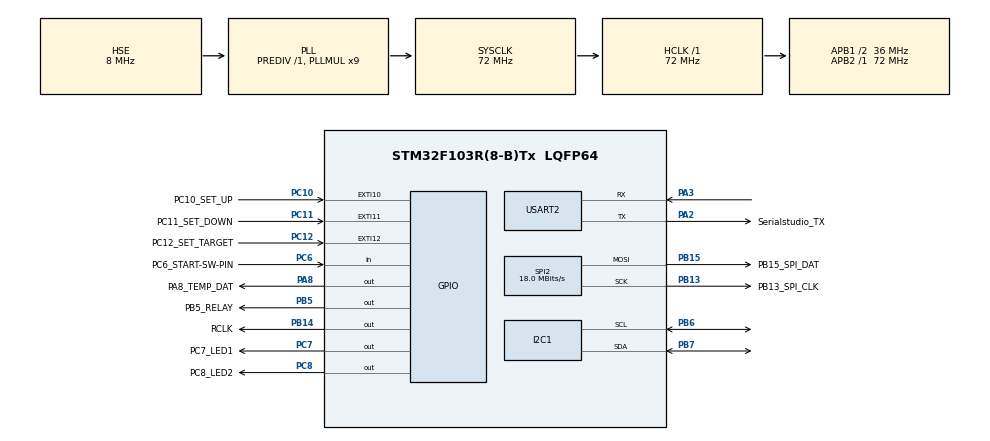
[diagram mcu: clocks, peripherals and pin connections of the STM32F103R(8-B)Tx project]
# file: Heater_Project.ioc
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Dma.Request0=USART2_TX
Dma.USART2_TX.0.Direction=DMA_MEMORY_TO_PERIPH
Dma.USART2_TX.0.Instance=DMA1_Channel7
Dma.USART2_TX.0.MemDataAlignment=DMA_MDATAALIGN_BYTE
Dma.USART2_TX.0.MemInc=DMA_MINC_ENABLE
Dma.USART2_TX.0.Mode=DMA_NORMAL
Dma.USART2_TX.0.PeriphDataAlignment=DMA_PDATAALIGN_BYTE
Dma.USART2_TX.0.PeriphInc=DMA_PINC_DISABLE
Dma.USART2_TX.0.Priority=DMA_PRIORITY_LOW
I2C1.I2C_Mode=I2C_Fast
Mcu.Family=STM32F1
Mcu.Name=STM32F103R(8-B)Tx
Mcu.Package=LQFP64
NVIC.DMA1_Channel7_IRQn=true\:0\:0\:false\:false\:true\:false\:true
NVIC.EXTI15_10_IRQn=true\:9\:0\:true\:false\:true\:true\:true
NVIC.PriorityGroup=NVIC_PRIORITYGROUP_4
NVIC.TIM2_IRQn=true\:10\:0\:true\:false\:true\:true\:true
NVIC.USART2_IRQn=true\:8\:0\:true\:false\:true\:true\:true
PA13.Mode=Serial_Wire
PA13.Signal=SYS_JTMS-SWDIO
PA14.Mode=Serial_Wire
PA14.Signal=SYS_JTCK-SWCLK
PA2.GPIO_Label=Serialstudio_TX
PA2.Mode=Asynchronous
PA2.Signal=USART2_TX
PA3.Mode=Asynchronous
PA3.Signal=USART2_RX
PA8.GPIO_Label=PA8_TEMP_DAT
PA8.GPIO_ModeDefaultOutputPP=GPIO_MODE_OUTPUT_OD
PA8.GPIO_PuPd=GPIO_NOPULL
PA8.GPIO_Speed=GPIO_SPEED_FREQ_HIGH
PA8.PinState=GPIO_PIN_SET
PA8.Signal=GPIO_Output
PB13.GPIO_Label=PB13_SPI_CLK
PB13.Mode=TX_Only_Simplex_Unidirect_Master
PB13.Signal=SPI2_SCK
PB14.GPIO_Label=RCLK
PB14.PinState=GPIO_PIN_SET
PB14.Signal=GPIO_Output
PB15.GPIO_Label=PB15_SPI_DAT
PB15.Mode=TX_Only_Simplex_Unidirect_Master
PB15.Signal=SPI2_MOSI
PB5.GPIO_Label=PB5_RELAY
PB5.Signal=GPIO_Output
PB6.Mode=I2C
PB6.Signal=I2C1_SCL
PB7.Mode=I2C
PB7.Signal=I2C1_SDA
PC10.GPIO_Label=PC10_SET_UP
PC10.GPIO_ModeDefaultEXTI=GPIO_MODE_IT_FALLING
PC10.GPIO_PuPd=GPIO_PULLUP
PC10.Signal=GPXTI10
PC11.GPIO_Label=PC11_SET_DOWN
PC11.GPIO_ModeDefaultEXTI=GPIO_MODE_IT_FALLING
PC11.GPIO_PuPd=GPIO_PULLUP
PC11.Signal=GPXTI11
PC12.GPIO_Label=PC12_SET_TARGET
PC12.GPIO_ModeDefaultEXTI=GPIO_MODE_IT_FALLING
PC12.GPIO_PuPd=GPIO_PULLUP
PC12.Signal=GPXTI12
PC14-OSC32_IN.Mode=LSE-External-Oscillator
PC14-OSC32_IN.Signal=RCC_OSC32_IN
PC15-OSC32_OUT.Mode=LSE-External-Oscillator
PC15-OSC32_OUT.Signal=RCC_OSC32_OUT
PC6.GPIO_Label=PC6_START-SW-PIN
PC6.GPIO_PuPd=GPIO_PULLUP
PC6.Signal=GPIO_Input
PC7.GPIO_Label=PC7_LED1
PC7.GPIO_ModeDefaultOutputPP=GPIO_MODE_OUTPUT_PP
PC7.GPIO_PuPd=GPIO_PULLUP
PC7.PinState=GPIO_PIN_SET
PC7.Signal=GPIO_Output
PC8.GPIO_Label=PC8_LED2
PC8.GPIO_PuPd=GPIO_PULLUP
PC8.GPIO_Speed=GPIO_SPEED_FREQ_LOW
PC8.PinState=GPIO_PIN_SET
PC8.Signal=GPIO_Output
PD0-OSC_IN.Mode=HSE-External-Oscillator
PD0-OSC_IN.Signal=RCC_OSC_IN
PD1-OSC_OUT.Mode=HSE-External-Oscillator
PD1-OSC_OUT.Signal=RCC_OSC_OUT
ProjectManager.HeapSize=0x200
ProjectManager.StackSize=0x400
ProjectManager.TargetToolchain=STM32CubeIDE
RCC.AHBFreq_Value=72000000
RCC.APB1CLKDivider=RCC_HCLK_DIV2
RCC.APB1Freq_Value=36000000
RCC.APB1TimFreq_Value=72000000
RCC.APB2Freq_Value=72000000
RCC.APB2TimFreq_Value=72000000
RCC.HCLKFreq_Value=72000000
RCC.PLLMUL=RCC_PLL_MUL9
RCC.PLLSourceVirtual=RCC_PLLSOURCE_HSE
RCC.SYSCLKFreq_VALUE=72000000
RCC.SYSCLKSource=RCC_SYSCLKSOURCE_PLLCLK
RCC.USBFreq_Value=72000000
SPI2.CLKPhase=SPI_PHASE_2EDGE
SPI2.CLKPolarity=SPI_POLARITY_HIGH
SPI2.CalculateBaudRate=18.0 MBits/s
SPI2.Direction=SPI_DIRECTION_2LINES
SPI2.Mode=SPI_MODE_MASTER
SPI2.VirtualType=VM_MASTER
TIM1.AutoReloadPreload=TIM_AUTORELOAD_PRELOAD_DISABLE
TIM1.Period=65535
TIM1.Prescaler=71
TIM1.TIM_MasterOutputTrigger=TIM_TRGO_RESET
TIM2.Period=49
TIM2.Prescaler=71
USART2.VirtualMode=VM_ASYNC
VP_TIM1_VS_ClockSourceINT.Mode=Internal
VP_TIM2_VS_ClockSourceINT.Mode=Internal
board=custom

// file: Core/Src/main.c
/* USER CODE BEGIN Header */
/**
  ******************************************************************************
  * @file           : main.c
  * @brief          : Main program body
  ******************************************************************************
  * @attention
  *
  * <h2><center>&copy; Copyright (c) 2026 STMicroelectronics.
  * All rights reserved.</center></h2>
  *
  * This software component is licensed by ST under BSD 3-Clause license,
  * the "License"; You may not use this file except in compliance with the
  * License. You may obtain a copy of the License at:
  *                        opensource.org/licenses/BSD-3-Clause
  *
  ******************************************************************************
  */
/* USER CODE END Header */
#include "main.h"

/* USER CODE BEGIN Includes */
#include "ds18b20.h"
#include "FND_CONTROLL.h"
#include "fonts.h"
#include "ssd1306.h"
#include "oled_image.h"
#include "oled_controll.h"
#include "button_controll.h"
#include "controlType.h"
#include "serial_studio.h"
#include "HeaterControl.h"
/* USER CODE END Includes */

I2C_HandleTypeDef hi2c1;

SPI_HandleTypeDef hspi2;

TIM_HandleTypeDef htim1;
TIM_HandleTypeDef htim2;

UART_HandleTypeDef huart2;
DMA_HandleTypeDef hdma_usart2_tx;

void SystemClock_Config(void);
static void MX_GPIO_Init(void);
static void MX_DMA_Init(void);
static void MX_TIM1_Init(void);
static void MX_TIM2_Init(void);
static void MX_I2C1_Init(void);
static void MX_SPI2_Init(void);
static void MX_USART2_UART_Init(void);

int main(void)
{

  /* MCU Configuration--------------------------------------------------------*/

  /* Reset of all peripherals, Initializes the Flash interface and the Systick. */
  HAL_Init();

  /* Configure the system clock */
  SystemClock_Config();

  /* Initialize all configured peripherals */
  MX_GPIO_Init();
  MX_DMA_Init();
  MX_TIM1_Init();
  MX_TIM2_Init();
  MX_I2C1_Init();
  MX_SPI2_Init();
  MX_USART2_UART_Init();
  /* USER CODE BEGIN 2 */
  init_a(&hspi2);
  Heater_Init();
  //Ds18b20_Init();
  Ds18b20_Init_Simple();
  HAL_TIM_Base_Start_IT(&htim2);
  SSD1306_Init();
  Display_first();
  /* USER CODE END 2 */

  /* Infinite loop */
  /* USER CODE BEGIN WHILE */
  while (1)
  {
		static uint32_t beforetick = 0;
		static int m_first = 0;
		while (1) {

			if (getHeaterState() == t_ON && Start_button() == t_OFF) {
				HeaterOFF();
			}
			//this is main code
			//Ds18b20_ManualConvert();
			if (HAL_GetTick() - beforetick >= 1000 || !m_first) {
				if (!isConverting()) {
					StartConverting();
				}
				checkConverting();
				if (!isConverting()) {
					if (Start_button() == t_ON) {
						HeaterControl(getTemper());
					}
					serial_studio_TX(&huart2);
					m_first = 1;
					beforetick = HAL_GetTick();
				}
			}
		}
    /* USER CODE END WHILE */

  }
}

void SystemClock_Config(void)
{
  RCC_OscInitTypeDef RCC_OscInitStruct = {0};
  RCC_ClkInitTypeDef RCC_ClkInitStruct = {0};

  /** Initializes the RCC Oscillators according to the specified parameters
  * in the RCC_OscInitTypeDef structure.
  */
  RCC_OscInitStruct.OscillatorType = RCC_OSCILLATORTYPE_HSE;
  RCC_OscInitStruct.HSEState = RCC_HSE_ON;
  RCC_OscInitStruct.HSEPredivValue = RCC_HSE_PREDIV_DIV1;
  RCC_OscInitStruct.HSIState = RCC_HSI_ON;
  RCC_OscInitStruct.PLL.PLLState = RCC_PLL_ON;
  RCC_OscInitStruct.PLL.PLLSource = RCC_PLLSOURCE_HSE;
  RCC_OscInitStruct.PLL.PLLMUL = RCC_PLL_MUL9;
  if (HAL_RCC_OscConfig(&RCC_OscInitStruct) != HAL_OK)
  {
    Error_Handler();
  }
  /** Initializes the CPU, AHB and APB buses clocks
  */
  RCC_ClkInitStruct.ClockType = RCC_CLOCKTYPE_HCLK|RCC_CLOCKTYPE_SYSCLK
                              |RCC_CLOCKTYPE_PCLK1|RCC_CLOCKTYPE_PCLK2;
  RCC_ClkInitStruct.SYSCLKSource = RCC_SYSCLKSOURCE_PLLCLK;
  RCC_ClkInitStruct.AHBCLKDivider = RCC_SYSCLK_DIV1;
  RCC_ClkInitStruct.APB1CLKDivider = RCC_HCLK_DIV2;
  RCC_ClkInitStruct.APB2CLKDivider = RCC_HCLK_DIV1;

  if (HAL_RCC_ClockConfig(&RCC_ClkInitStruct, FLASH_LATENCY_2) != HAL_OK)
  {
    Error_Handler();
  }
}

static void MX_I2C1_Init(void)
{

  hi2c1.Instance = I2C1;
  hi2c1.Init.ClockSpeed = 400000;
  hi2c1.Init.DutyCycle = I2C_DUTYCYCLE_2;
  hi2c1.Init.OwnAddress1 = 0;
  hi2c1.Init.AddressingMode = I2C_ADDRESSINGMODE_7BIT;
  hi2c1.Init.DualAddressMode = I2C_DUALADDRESS_DISABLE;
  hi2c1.Init.OwnAddress2 = 0;
  hi2c1.Init.GeneralCallMode = I2C_GENERALCALL_DISABLE;
  hi2c1.Init.NoStretchMode = I2C_NOSTRETCH_DISABLE;
  if (HAL_I2C_Init(&hi2c1) != HAL_OK)
  {
    Error_Handler();
  }

}

static void MX_SPI2_Init(void)
{

  /* SPI2 parameter configuration*/
  hspi2.Instance = SPI2;
  hspi2.Init.Mode = SPI_MODE_MASTER;
  hspi2.Init.Direction = SPI_DIRECTION_2LINES;
  hspi2.Init.DataSize = SPI_DATASIZE_8BIT;
  hspi2.Init.CLKPolarity = SPI_POLARITY_HIGH;
  hspi2.Init.CLKPhase = SPI_PHASE_2EDGE;
  hspi2.Init.NSS = SPI_NSS_SOFT;
  hspi2.Init.BaudRatePrescaler = SPI_BAUDRATEPRESCALER_2;
  hspi2.Init.FirstBit = SPI_FIRSTBIT_MSB;
  hspi2.Init.TIMode = SPI_TIMODE_DISABLE;
  hspi2.Init.CRCCalculation = SPI_CRCCALCULATION_DISABLE;
  hspi2.Init.CRCPolynomial = 10;
  if (HAL_SPI_Init(&hspi2) != HAL_OK)
  {
    Error_Handler();
  }

}

static void MX_TIM1_Init(void)
{

  TIM_ClockConfigTypeDef sClockSourceConfig = {0};
  TIM_MasterConfigTypeDef sMasterConfig = {0};

  htim1.Instance = TIM1;
  htim1.Init.Prescaler = 71;
  htim1.Init.CounterMode = TIM_COUNTERMODE_UP;
  htim1.Init.Period = 65535;
  htim1.Init.ClockDivision = TIM_CLOCKDIVISION_DIV1;
  htim1.Init.RepetitionCounter = 0;
  htim1.Init.AutoReloadPreload = TIM_AUTORELOAD_PRELOAD_DISABLE;
  if (HAL_TIM_Base_Init(&htim1) != HAL_OK)
  {
    Error_Handler();
  }
  sClockSourceConfig.ClockSource = TIM_CLOCKSOURCE_INTERNAL;
  if (HAL_TIM_ConfigClockSource(&htim1, &sClockSourceConfig) != HAL_OK)
  {
    Error_Handler();
  }
  sMasterConfig.MasterOutputTrigger = TIM_TRGO_RESET;
  sMasterConfig.MasterSlaveMode = TIM_MASTERSLAVEMODE_DISABLE;
  if (HAL_TIMEx_MasterConfigSynchronization(&htim1, &sMasterConfig) != HAL_OK)
  {
    Error_Handler();
  }

}

static void MX_TIM2_Init(void)
{

  TIM_ClockConfigTypeDef sClockSourceConfig = {0};
  TIM_MasterConfigTypeDef sMasterConfig = {0};

  htim2.Instance = TIM2;
  htim2.Init.Prescaler = 71;
  htim2.Init.CounterMode = TIM_COUNTERMODE_UP;
  htim2.Init.Period = 49;
  htim2.Init.ClockDivision = TIM_CLOCKDIVISION_DIV1;
  htim2.Init.AutoReloadPreload = TIM_AUTORELOAD_PRELOAD_DISABLE;
  if (HAL_TIM_Base_Init(&htim2) != HAL_OK)
  {
    Error_Handler();
  }
  sClockSourceConfig.ClockSource = TIM_CLOCKSOURCE_INTERNAL;
  if (HAL_TIM_ConfigClockSource(&htim2, &sClockSourceConfig) != HAL_OK)
  {
    Error_Handler();
  }
  sMasterConfig.MasterOutputTrigger = TIM_TRGO_RESET;
  sMasterConfig.MasterSlaveMode = TIM_MASTERSLAVEMODE_DISABLE;
  if (HAL_TIMEx_MasterConfigSynchronization(&htim2, &sMasterConfig) != HAL_OK)
  {
    Error_Handler();
  }

}

static void MX_USART2_UART_Init(void)
{

  huart2.Instance = USART2;
  huart2.Init.BaudRate = 115200;
  huart2.Init.WordLength = UART_WORDLENGTH_8B;
  huart2.Init.StopBits = UART_STOPBITS_1;
  huart2.Init.Parity = UART_PARITY_NONE;
  huart2.Init.Mode = UART_MODE_TX_RX;
  huart2.Init.HwFlowCtl = UART_HWCONTROL_NONE;
  huart2.Init.OverSampling = UART_OVERSAMPLING_16;
  if (HAL_UART_Init(&huart2) != HAL_OK)
  {
    Error_Handler();
  }

}

static void MX_DMA_Init(void)
{

  /* DMA controller clock enable */
  __HAL_RCC_DMA1_CLK_ENABLE();

  /* DMA interrupt init */
  /* DMA1_Channel7_IRQn interrupt configuration */
  HAL_NVIC_SetPriority(DMA1_Channel7_IRQn, 0, 0);
  HAL_NVIC_EnableIRQ(DMA1_Channel7_IRQn);

}

static void MX_GPIO_Init(void)
{
  GPIO_InitTypeDef GPIO_InitStruct = {0};

  /* GPIO Ports Clock Enable */
  __HAL_RCC_GPIOC_CLK_ENABLE();
  __HAL_RCC_GPIOD_CLK_ENABLE();
  __HAL_RCC_GPIOA_CLK_ENABLE();
  __HAL_RCC_GPIOB_CLK_ENABLE();

  /*Configure GPIO pin Output Level */
  HAL_GPIO_WritePin(RCLK_GPIO_Port, RCLK_Pin, GPIO_PIN_SET);

  /*Configure GPIO pin Output Level */
  HAL_GPIO_WritePin(GPIOC, PC7_LED1_Pin|PC8_LED2_Pin, GPIO_PIN_SET);

  /*Configure GPIO pin Output Level */
  HAL_GPIO_WritePin(PA8_TEMP_DAT_GPIO_Port, PA8_TEMP_DAT_Pin, GPIO_PIN_SET);

  /*Configure GPIO pin Output Level */
  HAL_GPIO_WritePin(PB5_RELAY_GPIO_Port, PB5_RELAY_Pin, GPIO_PIN_RESET);

  /*Configure GPIO pins : RCLK_Pin PB5_RELAY_Pin */
  GPIO_InitStruct.Pin = RCLK_Pin|PB5_RELAY_Pin;
  GPIO_InitStruct.Mode = GPIO_MODE_OUTPUT_PP;
  GPIO_InitStruct.Pull = GPIO_NOPULL;
  GPIO_InitStruct.Speed = GPIO_SPEED_FREQ_LOW;
  HAL_GPIO_Init(GPIOB, &GPIO_InitStruct);

  /*Configure GPIO pin : PC6_START_SW_PIN_Pin */
  GPIO_InitStruct.Pin = PC6_START_SW_PIN_Pin;
  GPIO_InitStruct.Mode = GPIO_MODE_INPUT;
  GPIO_InitStruct.Pull = GPIO_PULLUP;
  HAL_GPIO_Init(PC6_START_SW_PIN_GPIO_Port, &GPIO_InitStruct);

  /*Configure GPIO pins : PC7_LED1_Pin PC8_LED2_Pin */
  GPIO_InitStruct.Pin = PC7_LED1_Pin|PC8_LED2_Pin;
  GPIO_InitStruct.Mode = GPIO_MODE_OUTPUT_PP;
  GPIO_InitStruct.Pull = GPIO_PULLUP;
  GPIO_InitStruct.Speed = GPIO_SPEED_FREQ_LOW;
  HAL_GPIO_Init(GPIOC, &GPIO_InitStruct);

  /*Configure GPIO pin : PA8_TEMP_DAT_Pin */
  GPIO_InitStruct.Pin = PA8_TEMP_DAT_Pin;
  GPIO_InitStruct.Mode = GPIO_MODE_OUTPUT_OD;
  GPIO_InitStruct.Pull = GPIO_NOPULL;
  GPIO_InitStruct.Speed = GPIO_SPEED_FREQ_HIGH;
  HAL_GPIO_Init(PA8_TEMP_DAT_GPIO_Port, &GPIO_InitStruct);

  /*Configure GPIO pins : PC10_SET_UP_Pin PC11_SET_DOWN_Pin PC12_SET_TARGET_Pin */
  GPIO_InitStruct.Pin = PC10_SET_UP_Pin|PC11_SET_DOWN_Pin|PC12_SET_TARGET_Pin;
  GPIO_InitStruct.Mode = GPIO_MODE_IT_FALLING;
  GPIO_InitStruct.Pull = GPIO_PULLUP;
  HAL_GPIO_Init(GPIOC, &GPIO_InitStruct);

  /* EXTI interrupt init*/
  HAL_NVIC_SetPriority(EXTI15_10_IRQn, 9, 0);
  HAL_NVIC_EnableIRQ(EXTI15_10_IRQn);

}

/* USER CODE BEGIN 4 */
//FND CONTROLL
void HAL_TIM_PeriodElapsedCallback(TIM_HandleTypeDef *htim)
{
    if(htim->Instance == TIM2)
    {
    	if(!isBusyline() && isTemperSensorInit()){
        digit4_temper((int)(getCurrentTemp() * 10));
    	}
    }
}
// SWITCH INTERRUPT
void HAL_GPIO_EXTI_Callback(uint16_t GPIO_Pin)
{
	static int last_tick[3] = {0};
	int now = HAL_GetTick();
	int index = 0;
	if(GPIO_Pin == PC10_SET_UP_Pin){
		index = 0;
	}
	else if(GPIO_Pin == PC11_SET_DOWN_Pin){
		index = 1;
	}
	else if(GPIO_Pin == PC12_SET_TARGET_Pin){
		index = 2;
	}else { return;}

	if(now - last_tick[index] < Chattering_GAP){
		return;
	}

	last_tick[index] = now;

	button_controll(GPIO_Pin);
}
/* USER CODE END 4 */

void Error_Handler(void)
{
  __disable_irq();
  while (1)
  {
  }
}

/************************ (C) COPYRIGHT STMicroelectronics *****END OF FILE****/
